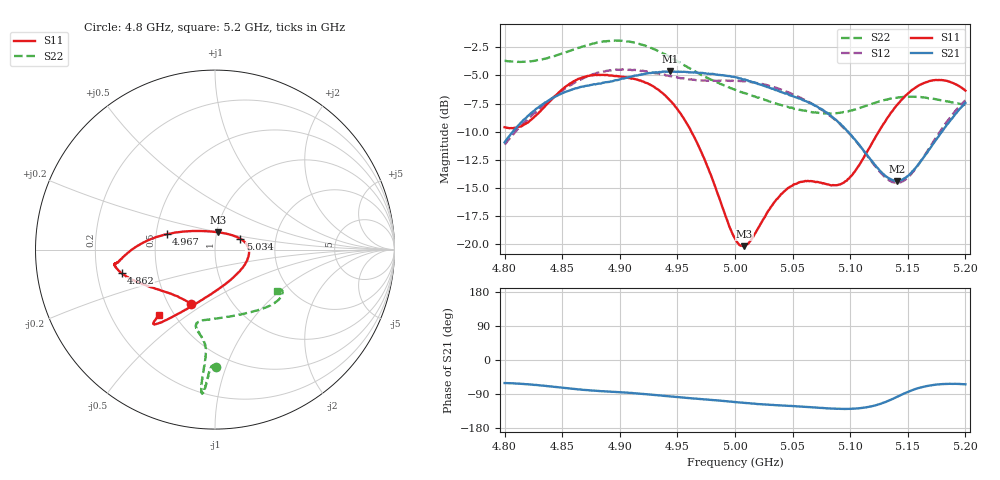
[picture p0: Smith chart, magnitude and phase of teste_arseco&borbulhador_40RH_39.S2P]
! Network Analyzer HP8722D
! Hewlett-Packard
! Data name: Linha & Wilkinson
! Saver's name: Rodrigo Anjos
! Comments: Teste da utilização de aquisição
! continua pelo VNA HP8722D
! Time and date: 15/4/2025 16:40
!  Frequency  S11  S21  S12  S22
# HZ  S  MA R 50
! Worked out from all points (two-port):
!   401 points, 4.8 GHz to 5.2 GHz, reference 50 ohm
!   highest |S21| = -4.64 dB at 4.944 GHz (marker M1); lowest = -14.4 dB at 5.141 GHz (marker M2)
!   |S21| within 3 dB of the highest: 4.832 GHz to 5.069 GHz (236.8 MHz wide, 4.78 % of centre); 5.19815 GHz to end of sweep
!   lowest |S11| = -20.2 dB at 5.008 GHz (marker M3), VSWR 1.22, Z = 50.9 + j9.88 ohm
!   |S11| at or under -10 dB: 4.962 GHz to 5.125 GHz (162.6 MHz wide, 3.22 % of centre)
!   |S22| runs from -8.4 to -1.9 dB; largest |S21 - S12| = 0.88
!   S11 on the Smith chart (normalised r, x): 4.8 GHz: 0.65, -0.44; 4.862 GHz: 0.31, -0.11; 4.967 GHz: 0.57, +0.11; 5.034 GHz: 1.32, +0.16; 5.2 GHz: 0.41, -0.39
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4.8e9  0.331 -113.9  0.2836 -60.8  0.277 -175.0  0.6545 -89.5
4.82e9  0.3466 -134.7  0.3708 -64.0  0.359 -173.5  0.649 -91.2
4.862e9  0.5368 -165.8  0.4934 -76.9  0.5287 -176.6  0.7401 -93.5
4.867e9  0.5495 -167.7  0.5008 -78.4  0.5421 -177.5  0.7553 -93.8
4.9e9  0.557 -172.2  0.5404 -85.0  0.5972 175.9  0.8036 -95.2
4.934e9  0.4841 -178.0  0.5823 -93.6  0.5735 171.8  0.7179 -95.7
4.944e9  0.4341 177.4  0.5858 -96.2  0.5585 172.0  0.6769 -95.4
4.967e9  0.2826 162.5  0.579 -102.2  0.5356 174.0  0.58 -95.1
5e9  0.1057 106.6  0.5536 -111.0  0.533 176.4  0.4864 -99.4
5.008e9  0.09786 79.0  0.5403 -113.0  0.5296 176.2  0.47 -101.3
5.014e9  0.1043 60.2  0.5282 -114.7  0.527 176.0  0.459 -102.6
5.034e9  0.1532 23.4  0.4872 -119.0  0.4983 175.1  0.4237 -104.1
5.05e9  0.1823 6.5  0.4552 -121.7  0.4634 174.2  0.4035 -100.5
5.067e9  0.1904 -11.9  0.4196 -124.7  0.4204 173.9  0.3861 -91.7
5.085e9  0.183 -40.3  0.3649 -128.3  0.3643 173.8  0.3824 -78.3
5.097e9  0.1914 -65.3  0.3199 -129.1  0.3195 174.3  0.3889 -68.4
5.134e9  0.3739 -116.3  0.1954 -106.4  0.1916 -159.3  0.4424 -43.4
5.141e9  0.4173 -120.3  0.1908 -96.8  0.1874 -148.3  0.4482 -40.3
5.153e9  0.4816 -125.1  0.2074 -80.7  0.2048 -129.8  0.4524 -36.0
5.17e9  0.5323 -128.7  0.2694 -66.9  0.2744 -112.9  0.4445 -32.1
5.184e9  0.532 -130.0  0.34 -63.2  0.3506 -107.2  0.4314 -31.2
5.2e9  0.4817 -130.5  0.4246 -64.2  0.4359 -106.2  0.4157 -33.5
